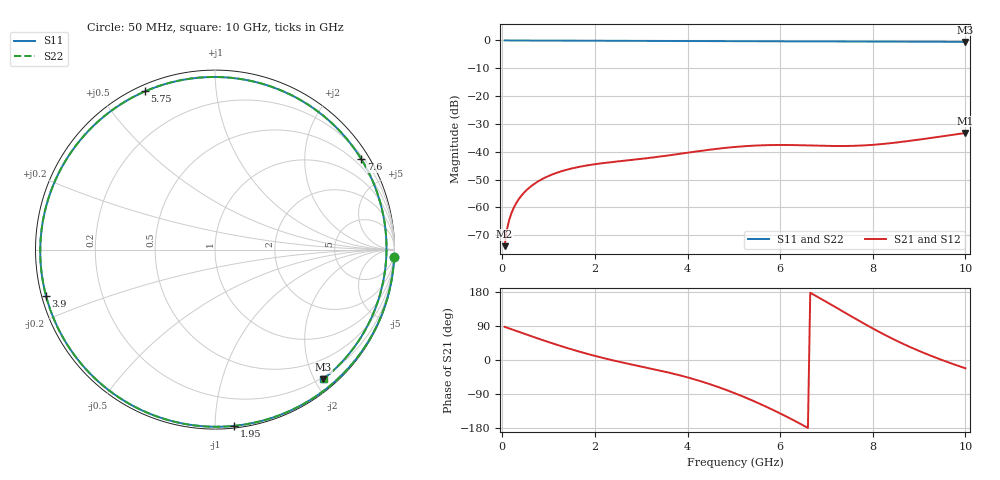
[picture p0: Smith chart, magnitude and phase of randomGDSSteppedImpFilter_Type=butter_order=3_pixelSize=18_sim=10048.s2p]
! freq	dB(S11)	phase(S11)	dB(S12)	phase(S12)
!  dB(S21)	phase(S21)	dB(S22)	phase(S22)
!S-par simulation data
#  GHz  S  DB  R 50
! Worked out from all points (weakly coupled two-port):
!   200 points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, 50 MHz to 10 GHz, reference 50 ohm
!   highest |S21| = -33.27 dB at 10 GHz (marker M1); lowest = -74.0 dB at 50 MHz (marker M2)
!   lowest |S11| = -0.5 dB at 10 GHz (marker M3), VSWR 32.68, Z = 8.5 - j106 ohm
!   |S11| at or under -10 dB: nowhere
!   |S22| runs from -0.5 to 0.0 dB; largest |S21 - S12| = 0
!   S11 on the Smith chart (normalised r, x): 50 MHz: 1, -51; 1.95 GHz: 0.01, -1.12; 3.9 GHz: 0.01, -0.13; 5.75 GHz: 0.03, +0.65; 7.6 GHz: 0.28, +3.50; 10 GHz: 0.17, -2.13
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0.05  -0.00 -2.2  -73.97 87.5  -73.97 87.5  -0.00 -2.2
0.1  -0.01 -4.4  -67.98 85.4  -67.98 85.4  -0.01 -4.4
0.2  -0.01 -8.8  -62.00 81.1  -62.00 81.1  -0.01 -8.8
0.35  -0.02 -15.4  -57.20 74.6  -57.20 74.6  -0.02 -15.4
0.5  -0.02 -21.9  -54.20 68.2  -54.20 68.2  -0.02 -21.9
1  -0.05 -43.5  -48.73 47.3  -48.73 47.3  -0.05 -43.6
1.4  -0.08 -60.6  -46.45 31.7  -46.45 31.7  -0.08 -60.6
1.75  -0.10 -75.4  -45.16 19.1  -45.16 19.1  -0.10 -75.4
1.95  -0.11 -83.7  -44.62 12.4  -44.62 12.4  -0.11 -83.8
2.65  -0.14 -112.8  -43.22 -8.1  -43.22 -8.1  -0.14 -112.8
3.4  -0.18 -143.8  -41.76 -27.8  -41.76 -27.8  -0.18 -143.8
3.9  -0.21 -164.7  -40.61 -42.6  -40.61 -42.6  -0.21 -164.7
4.45  -0.24 171.8  -39.34 -62.5  -39.34 -62.5  -0.24 171.9
5.05  -0.28 145.5  -38.26 -89.1  -38.26 -89.1  -0.28 145.6
5.75  -0.32 113.8  -37.63 -126.2  -37.63 -126.2  -0.32 114.0
6.2  -0.34 93.3  -37.60 -153.3  -37.60 -153.3  -0.34 93.5
6.7  -0.35 70.6  -37.78 174.0  -37.78 174.0  -0.35 70.8
7.15  -0.36 50.7  -37.95 142.7  -37.95 142.7  -0.36 51.0
7.6  -0.37 31.7  -37.89 110.7  -37.89 110.7  -0.37 32.0
8.35  -0.39 2.5  -37.00 60.7  -37.00 60.7  -0.39 2.8
9.05  -0.43 -21.7  -35.54 21.4  -35.54 21.4  -0.43 -21.4
10  -0.53 -50.1  -33.27 -21.9  -33.27 -21.9  -0.53 -49.8
